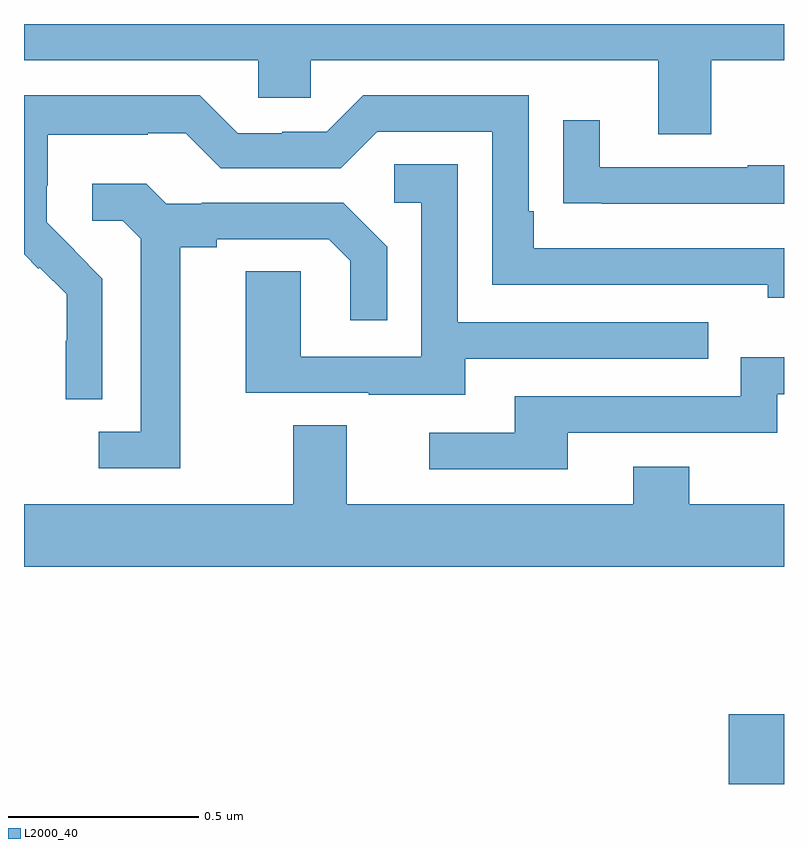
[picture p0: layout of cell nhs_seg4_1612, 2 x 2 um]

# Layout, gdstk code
import gdstk
lib = gdstk.Library(unit=1e-6, precision=1e-09)
def R(c, l, rs):  # rectangles x0, y0, x1, y1
    for r in rs: c.add(gdstk.rectangle(r[:2], r[2:], *l))
def P(c, l, *ps):  # polygons
    for p in ps: c.add(gdstk.Polygon(p, *l))
L2000_40 = (2000, 40)

nhs_seg4_1612 = lib.new_cell('nhs_seg4_1612')
R(nhs_seg4_1612, L2000_40, [(131.855,810.9,132,811.084)])
P(nhs_seg4_1612, L2000_40, [(131.809,812.804),(132,812.804),(132,812.9),(130,812.9),(130,812.804),(130.617,812.804),(130.617,812.706),(130.755,812.706),(130.755,812.804),(131.669,812.804),(131.669,812.61),(131.809,812.61)],
  [(130.206,812.23),(130.133,812.303),(130.134,812.304),(130.06,812.378),(130.06,812.475),(130.062,812.475),(130.062,812.609),(130.325,812.609),(130.325,812.613),(130.425,812.613),(130.518,812.52),(130.833,812.52),(130.929,812.616),(131.232,812.616),(131.232,812.214),(131.957,812.214),(131.957,812.18),(132,812.18),(132,812.31),(131.341,812.31),(131.341,812.407),(131.328,812.407),(131.328,812.712),(130.893,812.712),(130.797,812.616),(130.679,812.616),(130.679,812.613),(130.563,812.613),(130.463,812.713),(130,812.713),(130,812.294),(130.038,812.256),(130.041,812.259),(130.112,812.189),(130.112,812.066),(130.11,812.066),(130.11,811.912),(130.206,811.912)],
  [(132,812.528),(131.905,812.528),(131.905,812.523),(131.515,812.523),(131.515,812.647),(131.419,812.647),(131.419,812.428),(131.521,812.428),(131.521,812.427),(132,812.427)],
  [(131.161,812.019),(131.801,812.019),(131.801,812.115),(131.142,812.115),(131.142,812.531),(130.974,812.531),(130.974,812.43),(131.046,812.43),(131.046,812.025),(130.728,812.025),(130.728,812.249),(130.583,812.249),(130.583,811.929),(130.907,811.929),(130.907,811.925),(131.161,811.925)],
  [(130.411,812.312),(130.507,812.312),(130.507,812.334),(130.802,812.334),(130.859,812.277),(130.859,812.121),(130.956,812.121),(130.956,812.314),(130.84,812.43),(130.468,812.43),(130.468,812.427),(130.374,812.427),(130.322,812.479),(130.179,812.479),(130.179,812.382),(130.26,812.382),(130.307,812.335),(130.307,811.827),(130.197,811.827),(130.197,811.731),(130.411,811.731)],
  [(131.431,811.824),(131.982,811.824),(131.982,811.926),(132,811.926),(132,812.023),(131.886,812.023),(131.886,811.92),(131.291,811.92),(131.291,811.824),(131.067,811.824),(131.067,811.728),(131.431,811.728)],
  [(132,811.636),(131.751,811.636),(131.751,811.735),(131.603,811.735),(131.603,811.636),(130.849,811.636),(130.849,811.844),(130.709,811.844),(130.709,811.636),(130,811.636),(130,811.472),(132,811.472)])

lib.write_gds('nhs_seg4_1612.gds')
